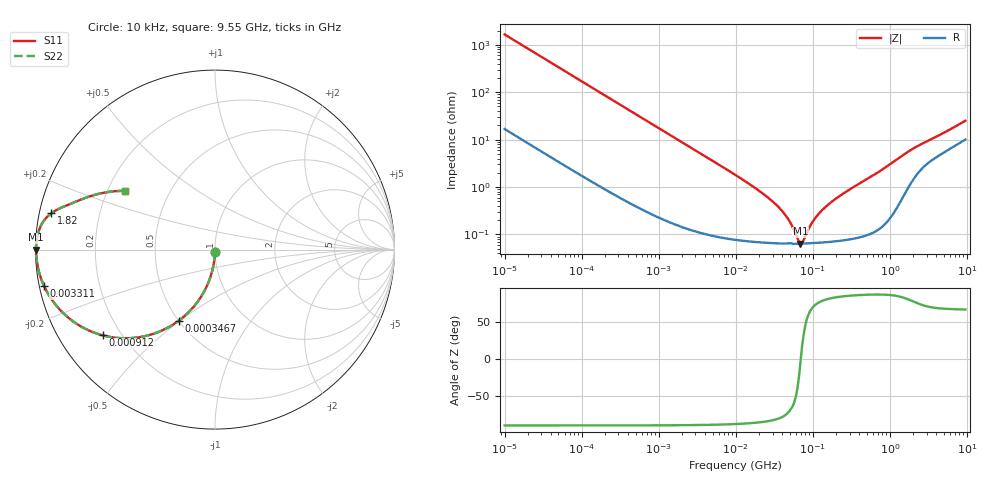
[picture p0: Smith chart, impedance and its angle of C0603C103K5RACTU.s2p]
! C0603C103K5RAC
! Temp = 25?C, Bias = 0VDC, Shunt
! KEMET S2P Model
# HZ S DB R 50
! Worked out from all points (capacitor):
!   300 points, 10 kHz to 9.55 GHz, reference 50 ohm
!   read as one part in shunt: C = 9.61 nF near 10.47 kHz
!   lowest |Z| = 64.3 mohm at 69.18 MHz (marker M1)
!   series resonance near 69.85 MHz, so ESL is about 540 pH
!   S11 on the Smith chart (normalised r, x): 10 kHz: 1.00, -0.03; 346.7 kHz: 0.50, -0.49; 912 kHz: 0.13, -0.33; 3.311 MHz: 0.01, -0.11; 1.82 GHz: 0.03, +0.11; 9.55 GHz: 0.27, +0.28
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10000  -36.40 -91.4  -0.00 -0.9  -0.00 -0.9  -36.40 -91.4
100000  -16.77 -98.9  -0.11 -8.3  -0.11 -8.3  -16.77 -98.9
199526.3  -11.13 -106.7  -0.37 -16.1  -0.37 -16.1  -11.13 -106.7
346736.8  -7.03 -117.1  -1.01 -26.4  -1.01 -26.4  -7.03 -117.1
575440.2  -3.98 -129.9  -2.30 -39.2  -2.30 -39.2  -3.98 -129.9
912010.9  -2.08 -142.7  -4.34 -51.9  -4.34 -51.9  -2.08 -142.7
1000000  -1.80 -145.1  -4.85 -54.4  -4.85 -54.4  -1.80 -145.1
1737800  -0.72 -157.9  -8.50 -67.1  -8.50 -67.1  -0.72 -157.9
3311311  -0.23 -167.9  -13.55 -76.7  -13.55 -76.7  -0.23 -167.9
1e7  -0.05 -175.9  -22.98 -83.5  -22.98 -83.5  -0.05 -175.9
2.187762e7  -0.03 -178.3  -30.45 -83.1  -30.45 -83.1  -0.03 -178.3
3.63078e7  -0.02 -179.2  -36.58 -79.1  -36.58 -79.1  -0.02 -179.2
5.01187e7  -0.02 -179.6  -42.51 -69.3  -42.51 -69.3  -0.02 -179.6
6.918312e7  -0.02 -180.0  -51.82 -4.4  -51.82 -4.4  -0.02 -180.0
7.585778e7  -0.02 179.9  -50.36 31.9  -50.36 31.9  -0.02 179.9
1e8  -0.02 179.6  -42.53 69.0  -42.53 69.0  -0.02 179.6
1.318256e8  -0.02 179.3  -37.74 77.2  -37.74 77.2  -0.02 179.3
1.90546e8  -0.03 178.8  -33.33 81.2  -33.33 81.2  -0.03 178.8
1e9  -0.14 173.2  -18.50 79.1  -18.50 79.1  -0.14 173.2
1.819702e9  -0.59 167.5  -13.15 66.6  -13.15 66.6  -0.59 167.5
4.57088e9  -2.19 158.2  -7.95 46.0  -7.95 46.0  -2.19 158.2
9.549916e9  -4.49 146.8  -4.46 33.1  -4.46 33.1  -4.49 146.8
